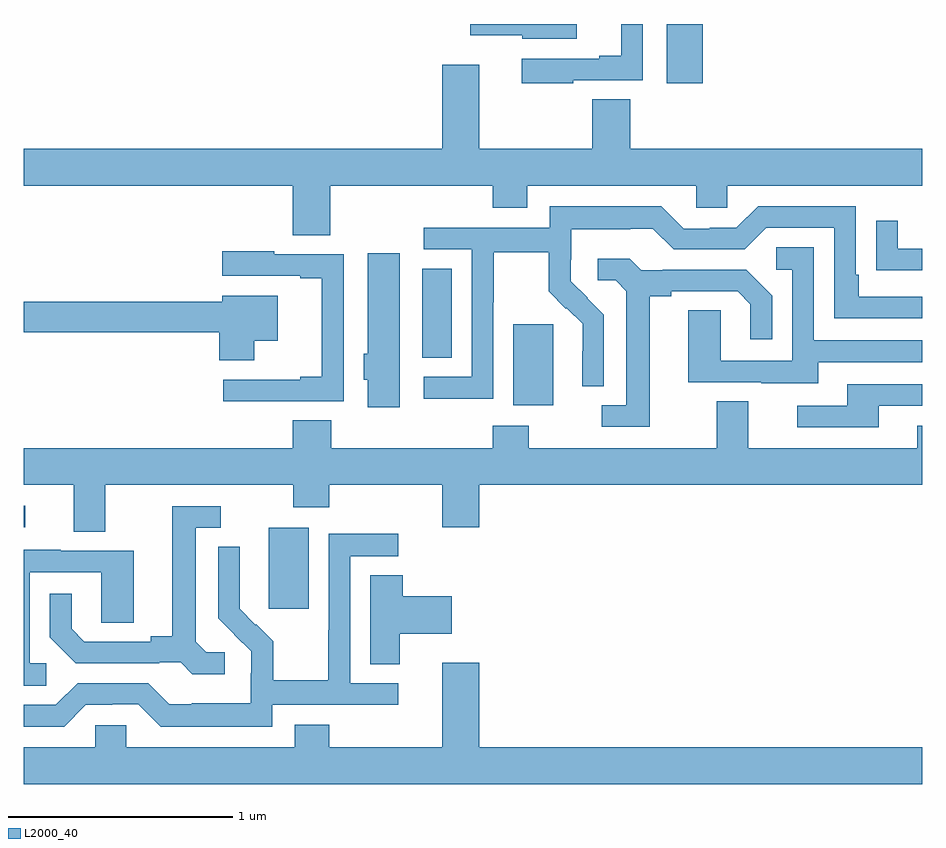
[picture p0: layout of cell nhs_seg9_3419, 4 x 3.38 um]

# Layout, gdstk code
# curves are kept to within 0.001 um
import gdstk
lib = gdstk.Library(unit=1e-6, precision=1e-09)
def R(c, l, rs):  # rectangles x0, y0, x1, y1
    for r in rs: c.add(gdstk.rectangle(r[:2], r[2:], *l))
def P(c, l, *ps):  # polygons
    for p in ps: c.add(gdstk.Polygon(p, *l))
L2000_40 = (2000, 40)

nhs_seg9_3419 = lib.new_cell('nhs_seg9_3419')
R(nhs_seg9_3419, L2000_40, [(308.09,1167.897,308.269,1168.258), (307,1168.26,307.006,1168.356), (309.179,1168.802,309.358,1169.163), (308.774,1169.014,308.905,1169.411), (309.863,1170.237,310.024,1170.5)])
P(nhs_seg9_3419, L2000_40, [(309.463,1170.5),(308.988,1170.5),(308.988,1170.449),(309.219,1170.449),(309.219,1170.434),(309.463,1170.434)],
  [(309.446,1170.249),(309.756,1170.249),(309.756,1170.5),(309.659,1170.5),(309.659,1170.358),(309.563,1170.358),(309.563,1170.345),(309.216,1170.345),(309.216,1170.237),(309.446,1170.237)],
  [(308.364,1169.78),(309.089,1169.78),(309.089,1169.681),(309.241,1169.681),(309.241,1169.78),(309.993,1169.78),(309.993,1169.682),(310.131,1169.682),(310.131,1169.78),(311,1169.78),(311,1169.944),(309.701,1169.944),(309.701,1170.164),(309.53,1170.164),(309.53,1169.944),(309.028,1169.944),(309.028,1170.319),(308.864,1170.319),(308.864,1169.944),(307,1169.944),(307,1169.78),(308.198,1169.78),(308.198,1169.56),(308.364,1169.56)],
  [(309.09,1169.26),(309.093,1169.26),(309.093,1169.484),(309.337,1169.484),(309.337,1169.309),(309.414,1169.232),(309.417,1169.235),(309.488,1169.165),(309.488,1169.042),(309.486,1169.042),(309.486,1168.888),(309.582,1168.888),(309.582,1169.206),(309.436,1169.354),(309.436,1169.451),(309.438,1169.451),(309.438,1169.585),(309.701,1169.585),(309.701,1169.589),(309.801,1169.589),(309.894,1169.496),(310.209,1169.496),(310.305,1169.592),(310.608,1169.592),(310.608,1169.19),(311,1169.19),(311,1169.286),(310.717,1169.286),(310.717,1169.383),(310.704,1169.383),(310.704,1169.688),(310.269,1169.688),(310.173,1169.592),(310.055,1169.592),(310.055,1169.589),(309.939,1169.589),(309.839,1169.689),(309.342,1169.689),(309.342,1169.592),(308.781,1169.592),(308.781,1169.496),(308.994,1169.496),(308.994,1168.929),(308.781,1168.929),(308.781,1168.831),(309.09,1168.831)],
  [(311,1169.499),(310.891,1169.499),(310.891,1169.623),(310.795,1169.623),(310.795,1169.404),(310.897,1169.404),(310.897,1169.403),(311,1169.403)],
  [(310.537,1168.995),(311,1168.995),(311,1169.091),(310.518,1169.091),(310.518,1169.507),(310.35,1169.507),(310.35,1169.406),(310.422,1169.406),(310.422,1169.001),(310.104,1169.001),(310.104,1169.225),(309.959,1169.225),(309.959,1168.905),(310.283,1168.905),(310.283,1168.901),(310.537,1168.901)],
  [(308.114,1168.821),(308.424,1168.821),(308.424,1169.475),(308.114,1169.475),(308.114,1169.488),(307.884,1169.488),(307.884,1169.379),(308.231,1169.379),(308.231,1169.367),(308.327,1169.367),(308.327,1168.93),(308.231,1168.93),(308.231,1168.917),(307.887,1168.917),(307.887,1168.82),(308.114,1168.82)],
  [(308.674,1169.479),(308.531,1169.479),(308.531,1169.031),(308.513,1169.031),(308.513,1168.917),(308.531,1168.917),(308.531,1168.794),(308.674,1168.794)],
  [(309.787,1169.288),(309.883,1169.288),(309.883,1169.31),(310.178,1169.31),(310.235,1169.253),(310.235,1169.097),(310.332,1169.097),(310.332,1169.29),(310.216,1169.406),(309.844,1169.406),(309.844,1169.403),(309.75,1169.403),(309.698,1169.455),(309.555,1169.455),(309.555,1169.358),(309.636,1169.358),(309.683,1169.311),(309.683,1168.803),(309.573,1168.803),(309.573,1168.707),(309.787,1168.707)],
  [(308.025,1169.09),(308.131,1169.09),(308.131,1169.29),(307.883,1169.29),(307.883,1169.264),(307,1169.264),(307,1169.128),(307.871,1169.128),(307.871,1169.002),(308.025,1169.002)],
  [(310.807,1168.8),(311,1168.8),(311,1168.896),(310.667,1168.896),(310.667,1168.8),(310.443,1168.8),(310.443,1168.704),(310.807,1168.704)],
  [(307.363,1168.448),(308.2,1168.448),(308.2,1168.349),(308.36,1168.349),(308.36,1168.448),(308.864,1168.448),(308.864,1168.26),(309.028,1168.26),(309.028,1168.448),(311,1168.448),(311,1168.711),(310.979,1168.711),(310.979,1168.612),(310.225,1168.612),(310.225,1168.82),(310.085,1168.82),(310.085,1168.612),(309.249,1168.612),(309.249,1168.711),(309.089,1168.711),(309.089,1168.612),(308.369,1168.612),(308.369,1168.736),(308.198,1168.736),(308.198,1168.612),(307,1168.612),(307,1168.448),(307.223,1168.448),(307.223,1168.24),(307.363,1168.24)],
  [(307.894,1167.702),(307.812,1167.702),(307.765,1167.749),(307.765,1168.257),(307.876,1168.257),(307.876,1168.353),(307.661,1168.353),(307.661,1167.773),(307.565,1167.773),(307.565,1167.75),(307.27,1167.75),(307.213,1167.807),(307.213,1167.964),(307.116,1167.964),(307.116,1167.77),(307.232,1167.654),(307.604,1167.654),(307.604,1167.657),(307.698,1167.657),(307.75,1167.605),(307.894,1167.605)],
  [(308.106,1167.468),(308.668,1167.468),(308.668,1167.564),(308.454,1167.564),(308.454,1168.131),(308.668,1168.131),(308.668,1168.23),(308.358,1168.23),(308.358,1167.8),(308.356,1167.8),(308.356,1167.577),(308.111,1167.577),(308.111,1167.751),(308.034,1167.828),(308.031,1167.825),(307.961,1167.896),(307.962,1168.172),(307.866,1168.172),(307.866,1167.854),(308.012,1167.706),(308.012,1167.609),(308.01,1167.609),(308.01,1167.475),(307.747,1167.475),(307.747,1167.471),(307.647,1167.471),(307.554,1167.564),(307.239,1167.564),(307.143,1167.468),(307,1167.468),(307,1167.372),(307.179,1167.372),(307.275,1167.468),(307.394,1167.468),(307.394,1167.471),(307.509,1167.471),(307.609,1167.371),(308.106,1167.371)],
  [(307.099,1167.654),(307.026,1167.654),(307.026,1168.059),(307.344,1168.059),(307.344,1167.835),(307.489,1167.835),(307.489,1168.155),(307.165,1168.155),(307.165,1168.159),(307,1168.159),(307,1167.553),(307.099,1167.553)],
  [(308.674,1167.785),(308.905,1167.785),(308.905,1167.951),(308.687,1167.951),(308.687,1168.046),(308.543,1168.046),(308.543,1167.649),(308.674,1167.649)],
  [(311,1167.28),(309.028,1167.28),(309.028,1167.655),(308.864,1167.655),(308.864,1167.28),(308.36,1167.28),(308.36,1167.379),(308.207,1167.379),(308.207,1167.28),(307.455,1167.28),(307.455,1167.378),(307.317,1167.378),(307.317,1167.28),(307,1167.28),(307,1167.116),(311,1167.116)])

lib.write_gds('nhs_seg9_3419.gds')
